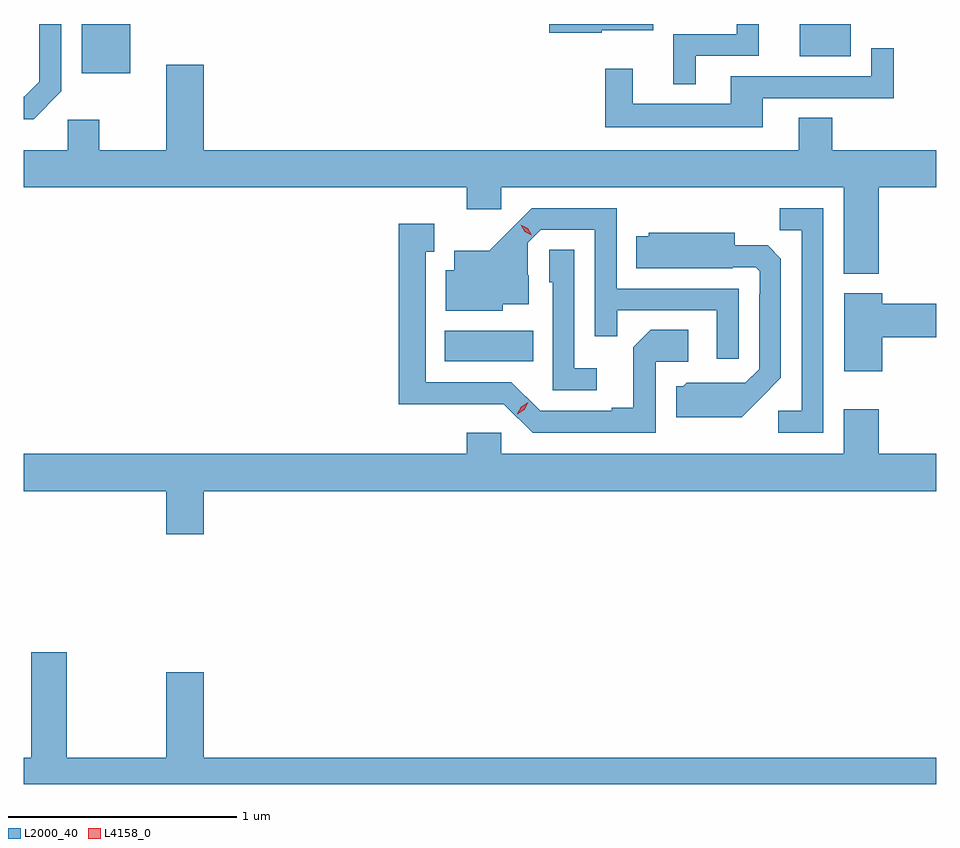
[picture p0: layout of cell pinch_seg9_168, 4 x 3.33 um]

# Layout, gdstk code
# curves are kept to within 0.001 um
import gdstk
lib = gdstk.Library(unit=1e-6, precision=1e-09)
def R(c, l, rs):  # rectangles x0, y0, x1, y1
    for r in rs: c.add(gdstk.rectangle(r[:2], r[2:], *l))
def P(c, l, *ps):  # polygons
    for p in ps: c.add(gdstk.Polygon(p, *l))
L2000_40 = (2000, 40)
L4158_0 = (4158, 0)

pinch_seg9_168 = lib.new_cell('pinch_seg9_168')
R(pinch_seg9_168, L2000_40, [(645.749,1166.354,646.136,1166.488), (644.156,1167.617,644.369,1167.833), (647.306,1167.692,647.53,1167.833)])
P(pinch_seg9_168, L2000_40, [(646.849,1167.693),(647.126,1167.693),(647.126,1167.833),(647.028,1167.833),(647.028,1167.789),(646.751,1167.789),(646.751,1167.569),(646.849,1167.569)],
  [(644.067,1167.537),(644.067,1167.833),(643.971,1167.833),(643.971,1167.579),(643.905,1167.513),(643.903,1167.513),(643.903,1167.416),(643.946,1167.416)],
  [(646.437,1167.806),(646.663,1167.806),(646.663,1167.833),(646.206,1167.833),(646.206,1167.794),(646.437,1167.794)],
  [(647.143,1167.507),(647.717,1167.507),(647.717,1167.727),(647.619,1167.727),(647.619,1167.603),(647.003,1167.603),(647.003,1167.484),(646.573,1167.484),(646.573,1167.637),(646.452,1167.637),(646.452,1167.38),(647.143,1167.38)],
  [(647.651,1167.116),(647.903,1167.116),(647.903,1167.28),(647.448,1167.28),(647.448,1167.422),(647.3,1167.422),(647.3,1167.28),(644.692,1167.28),(644.692,1167.655),(644.528,1167.655),(644.528,1167.28),(644.233,1167.28),(644.233,1167.412),(644.094,1167.412),(644.094,1167.28),(643.903,1167.28),(643.903,1167.116),(645.845,1167.116),(645.845,1167.021),(645.996,1167.021),(645.996,1167.116),(647.498,1167.116),(647.498,1166.738),(647.651,1166.738)],
  [(647.037,1166.673),(646.503,1166.673),(646.503,1167.024),(646.13,1167.024),(645.943,1166.839),(645.791,1166.839),(645.791,1166.752),(645.752,1166.752),(645.752,1166.576),(646.002,1166.576),(646.002,1166.603),(646.117,1166.603),(646.117,1166.732),(646.113,1166.732),(646.113,1166.874),(646.17,1166.931),(646.407,1166.931),(646.407,1166.464),(646.505,1166.464),(646.505,1166.577),(646.941,1166.577),(646.941,1166.364),(647.037,1166.364)],
  [(647.409,1167.024),(647.218,1167.024),(647.218,1166.929),(647.313,1166.929),(647.313,1166.136),(647.211,1166.136),(647.211,1166.04),(647.409,1166.04)],
  [(646.674,1166.352),(646.816,1166.352),(646.816,1166.492),(646.651,1166.492),(646.575,1166.416),(646.575,1166.149),(646.481,1166.149),(646.481,1166.136),(646.167,1166.136),(646.041,1166.262),(645.664,1166.262),(645.664,1166.835),(645.703,1166.835),(645.703,1166.956),(645.546,1166.956),(645.546,1166.165),(646.008,1166.166),(646.134,1166.04),(646.674,1166.04)],
  [(647.131,1166.189),(647.223,1166.282),(647.223,1166.804),(647.164,1166.863),(647.02,1166.863),(647.02,1166.917),(646.644,1166.917),(646.644,1166.902),(646.588,1166.902),(646.588,1166.762),(647.012,1166.762),(647.012,1166.766),(647.112,1166.766),(647.13,1166.748),(647.13,1166.648),(647.127,1166.648),(647.127,1166.319),(647.067,1166.259),(646.81,1166.26),(646.794,1166.244),(646.763,1166.244),(646.763,1166.108),(647.051,1166.108)],
  [(646.414,1166.323),(646.317,1166.323),(646.317,1166.843),(646.206,1166.843),(646.206,1166.7),(646.221,1166.7),(646.221,1166.226),(646.414,1166.226)],
  [(647.668,1166.459),(647.903,1166.459),(647.903,1166.606),(647.668,1166.606),(647.668,1166.653),(647.501,1166.653),(647.501,1166.31),(647.668,1166.31)],
  [(644.692,1165.784),(647.903,1165.784),(647.903,1165.948),(647.651,1165.948),(647.651,1166.143),(647.498,1166.143),(647.498,1165.948),(645.996,1165.948),(645.996,1166.041),(645.845,1166.041),(645.845,1165.948),(643.903,1165.948),(643.903,1165.784),(644.528,1165.784),(644.528,1165.596),(644.692,1165.596)],
  [(647.903,1164.616),(644.692,1164.616),(644.692,1164.991),(644.528,1164.991),(644.528,1164.616),(644.091,1164.616),(644.091,1165.078),(643.936,1165.078),(643.936,1164.616),(643.903,1164.616),(643.903,1164.5),(647.903,1164.5)])
P(pinch_seg9_168, L4158_0, [(646.129,1166.907),(646.099,1166.922),(646.081,1166.952),(646.081,1166.952),(646.081,1166.952),(646.112,1166.937),(646.13,1166.907),(646.13,1166.907)],
  [(646.066,1166.122),(646.066,1166.123),(646.084,1166.155),(646.115,1166.174),(646.115,1166.174),(646.115,1166.174),(646.098,1166.141),(646.067,1166.122)])

lib.write_gds('pinch_seg9_168.gds')
